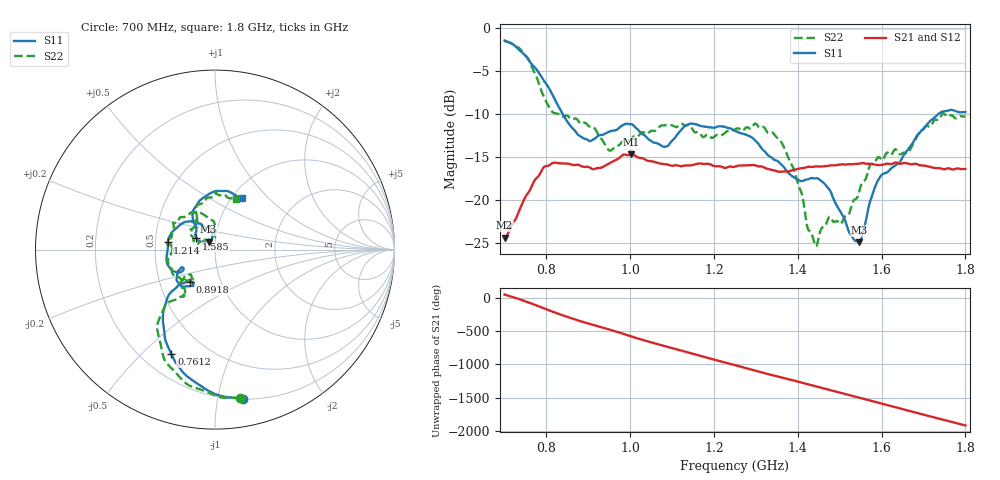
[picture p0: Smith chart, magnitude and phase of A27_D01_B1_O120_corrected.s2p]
! Created with skrf 1.9.0 (http://scikit-rf.org).
# Hz S RI R 50.0
!freq ReS11 ImS11 ReS21 ImS21 ReS12 ImS12 ReS22 ImS22
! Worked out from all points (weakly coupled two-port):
!   1601 points, 700 MHz to 1.8 GHz, reference 50 ohm
!   highest |S21| = -14.71 dB at 1.002 GHz (marker M1); lowest = -24.4 dB at 700 MHz (marker M2)
!   lowest |S11| = -25.0 dB at 1.547 GHz (marker M3), VSWR 1.12, Z = 46.4 + j4.04 ohm
!   |S11| at or under -10 dB: 838.3 MHz to 1.736 GHz (897.6 MHz wide, 69.7 % of centre)
!   |S22| runs from -25.4 to -1.5 dB; largest |S21 - S12| = 0.0037
!   S11 on the Smith chart (normalised r, x): 700 MHz: 0.20, -1.19; 761.2 MHz: 0.32, -0.62; 891.8 MHz: 0.72, -0.27; 1.214 GHz: 0.58, +0.05; 1.585 GHz: 0.81, +0.10; 1.8 GHz: 1.12, +0.71
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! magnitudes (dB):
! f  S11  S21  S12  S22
! 700 MHz  -1.5  -24.4  -24.2  -1.5
! 761.2 MHz  -4.0  -18.8  -18.7  -4.1
! 812.1 MHz  -7.6  -15.8  -15.8  -9.7
! 883.6 MHz  -12.7  -16.1  -16.0  -11.2
! 891.8 MHz  -12.9  -16.2  -16.2  -11.0
! 950.2 MHz  -12.1  -15.8  -15.8  -14.3
! 1.002 GHz  -11.2  -14.7  -14.8  -12.9
! 1.067 GHz  -13.5  -15.7  -15.7  -11.6
! 1.142 GHz  -11.2  -16.0  -16.0  -11.3
! 1.214 GHz  -11.5  -16.1  -16.1  -12.5
! 1.25 GHz  -12.0  -16.2  -16.1  -11.8
! 1.3 GHz  -13.2  -16.0  -16.0  -11.1
! 1.359 GHz  -15.8  -16.8  -16.7  -13.2
! 1.392 GHz  -17.5  -16.5  -16.5  -16.6
! 1.434 GHz  -17.5  -16.2  -16.2  -24.1
! 1.504 GHz  -21.6  -15.9  -15.9  -22.7
! 1.547 GHz  -25.0  -15.8  -15.8  -19.0
! 1.585 GHz  -18.4  -15.9  -15.9  -15.6
! 1.617 GHz  -16.7  -15.8  -15.8  -14.6
! 1.663 GHz  -14.2  -15.8  -15.8  -14.6
! 1.737 GHz  -10.0  -16.3  -16.4  -10.7
! 1.8 GHz  -9.8  -16.4  -16.4  -10.3
